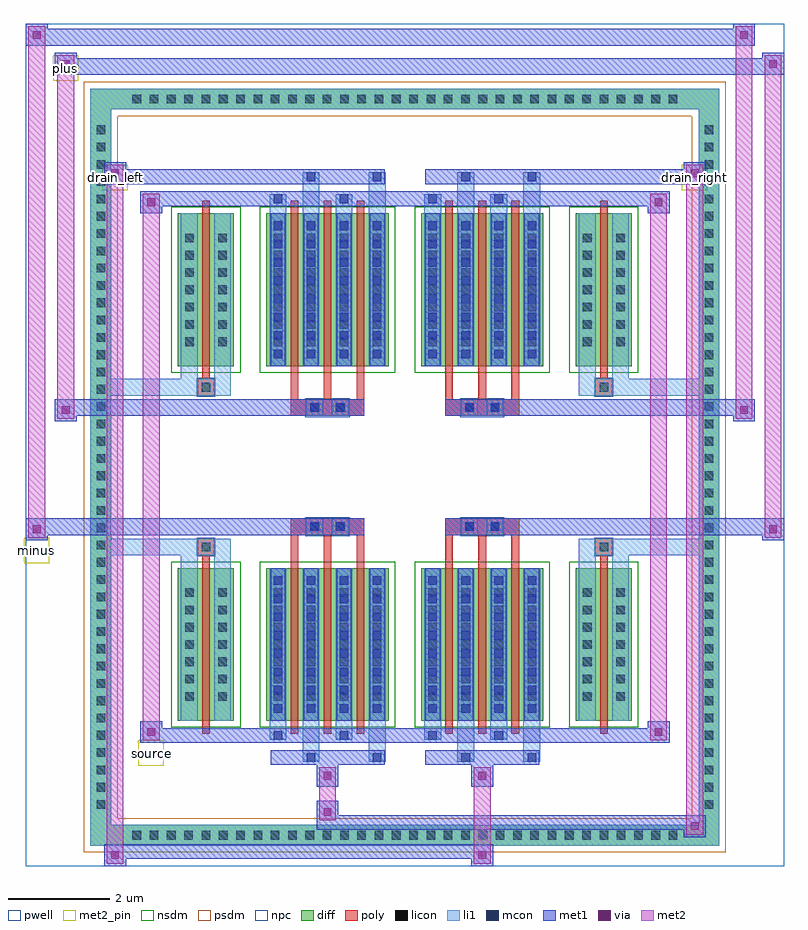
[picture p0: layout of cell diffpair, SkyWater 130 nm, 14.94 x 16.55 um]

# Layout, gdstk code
import gdstk
lib = gdstk.Library(unit=1e-6, precision=5e-09)
def R(c, l, rs):  # rectangles x0, y0, x1, y1
    for r in rs: c.add(gdstk.rectangle(r[:2], r[2:], *l))
def A(c, l, x, y, w, h, nx, ny, dx, dy):  # array of equal rectangles
    R(c, l, [(x+i*dx, y+j*dy, x+i*dx+w, y+j*dy+h) for i in range(nx) for j in range(ny)])
def P(c, l, *ps):  # polygons
    for p in ps: c.add(gdstk.Polygon(p, *l))
pwell = (64, 44)
diff = (65, 20)
poly = (66, 20)
licon = (66, 44)
li1 = (67, 20)
mcon = (67, 44)
met1 = (68, 20)
via = (68, 44)
met2_pin = (69, 16)
met2 = (69, 20)
nsdm = (93, 44)
psdm = (94, 20)
npc = (95, 20)

diffpair = lib.new_cell('diffpair')
R(diffpair, pwell, [(-7.45,-7.84,7.45,8.71), (-4.77,-6.03,-0.01,-0.805), (0.01,-6.03,4.77,-0.805), (-4.77,0.805,-0.01,6.03), (0.01,0.805,4.77,6.03)])
A(diffpair, diff, -5.475, -7.44, 0.41, 0.41, 32, 2, 0.34, 14.47)
A(diffpair, diff, -6.18, -6.835, 0.41, 0.41, 1, 40, 0, 0.34)
A(diffpair, diff, 5.77, -6.835, 0.41, 0.41, 1, 40, 0, 0.34)
R(diffpair, diff, [(-5.475,-7.44,5.475,-7.03), (-6.18,-6.835,-5.77,6.835), (5.77,-6.835,6.18,6.835), (-4.46,-4.985,-3.36,-1.985), (-2.72,-4.985,-0.32,-1.985), (0.32,-4.985,2.72,-1.985), (3.36,-4.985,4.46,-1.985), (-4.46,1.985,-3.36,4.985), (-2.72,1.985,-0.32,4.985), (0.32,1.985,2.72,4.985), (3.36,1.985,4.46,4.985), (-5.475,7.03,5.475,7.44)])
P(diffpair, diff, [(6.18,7.44),(-6.18,7.44),(-6.18,-7.03),(-5.77,-7.03),(-5.77,7.03),(5.77,7.03),(5.77,-7.03),(-5.77,-7.03),(-6.18,-7.03),(-6.18,-7.44),(6.18,-7.44)])
A(diffpair, poly, -2.245, -5.235, 0.15, 3.5, 3, 2, 0.65, 6.97)
A(diffpair, poly, 0.795, -5.235, 0.15, 3.5, 3, 2, 0.65, 6.97)
A(diffpair, poly, -2.245, -1.735, 0.15, 0.4, 3, 2, 0.65, 3.07)
A(diffpair, poly, 0.795, -1.735, 0.15, 0.4, 3, 2, 0.65, 3.07)
R(diffpair, poly, [(-3.985,-5.235,-3.835,-1.735), (3.835,-5.235,3.985,-1.735), (-4.075,-1.735,-3.745,-1.405), (-4.075,-1.735,-3.745,-1.405), (3.745,-1.735,4.075,-1.405), (3.745,-1.735,4.075,-1.405), (-2.245,-1.335,-0.795,-1.005), (-1.935,-1.335,-1.605,-1.005), (-1.435,-1.335,-1.105,-1.005), (0.795,-1.335,2.245,-1.005), (1.105,-1.335,1.435,-1.005), (1.605,-1.335,1.935,-1.005), (-2.245,1.005,-0.795,1.335), (-1.935,1.005,-1.605,1.335), (-1.435,1.005,-1.105,1.335), (0.795,1.005,2.245,1.335), (1.105,1.005,1.435,1.335), (1.605,1.005,1.935,1.335), (-4.075,1.405,-3.745,1.735), (-4.075,1.405,-3.745,1.735), (3.745,1.405,4.075,1.735), (3.745,1.405,4.075,1.735), (-3.985,1.735,-3.835,5.235), (3.835,1.735,3.985,5.235)])
A(diffpair, licon, -5.355, -7.32, 0.17, 0.17, 32, 2, 0.34, 14.47)
A(diffpair, licon, -6.06, -6.715, 0.17, 0.17, 1, 40, 0, 0.34)
A(diffpair, licon, 5.89, -6.715, 0.17, 0.17, 1, 40, 0, 0.34)
A(diffpair, licon, -4.32, -4.59, 0.17, 0.17, 1, 7, 0, 0.34)
A(diffpair, licon, -3.67, -4.59, 0.17, 0.17, 1, 7, 0, 0.34)
A(diffpair, licon, -2.58, -4.59, 0.17, 0.17, 4, 7, 0.65, 0.34)
A(diffpair, licon, 0.46, -4.59, 0.17, 0.17, 4, 7, 0.65, 0.34)
A(diffpair, licon, 3.5, -4.59, 0.17, 0.17, 1, 7, 0, 0.34)
A(diffpair, licon, 4.15, -4.59, 0.17, 0.17, 1, 7, 0, 0.34)
A(diffpair, licon, -4.32, 2.38, 0.17, 0.17, 1, 7, 0, 0.34)
A(diffpair, licon, -3.67, 2.38, 0.17, 0.17, 1, 7, 0, 0.34)
A(diffpair, licon, -2.58, 2.38, 0.17, 0.17, 4, 7, 0.65, 0.34)
A(diffpair, licon, 0.46, 2.38, 0.17, 0.17, 4, 7, 0.65, 0.34)
A(diffpair, licon, 3.5, 2.38, 0.17, 0.17, 1, 7, 0, 0.34)
A(diffpair, licon, 4.15, 2.38, 0.17, 0.17, 1, 7, 0, 0.34)
R(diffpair, licon, [(-3.995,-1.655,-3.825,-1.485), (3.825,-1.655,3.995,-1.485), (-1.855,-1.255,-1.685,-1.085), (-1.355,-1.255,-1.185,-1.085), (1.185,-1.255,1.355,-1.085), (1.685,-1.255,1.855,-1.085), (-1.855,1.085,-1.685,1.255), (-1.355,1.085,-1.185,1.255), (1.185,1.085,1.355,1.255), (1.685,1.085,1.855,1.255), (-3.995,1.485,-3.825,1.655), (3.825,1.485,3.995,1.655)])
A(diffpair, li1, -5.435, -7.4, 0.33, 0.33, 32, 2, 0.34, 14.47)
A(diffpair, li1, -6.14, -6.795, 0.33, 0.33, 1, 40, 0, 0.34)
A(diffpair, li1, 5.81, -6.795, 0.33, 0.33, 1, 40, 0, 0.34)
A(diffpair, li1, -2.66, -4.985, 0.33, 3, 4, 2, 0.65, 6.97)
A(diffpair, li1, 0.38, -4.985, 0.33, 3, 4, 2, 0.65, 6.97)
A(diffpair, li1, -2.58, -4.83, 0.17, 0.17, 4, 8, 0.65, 0.36)
A(diffpair, li1, -2.58, -4.83, 0.17, 2.69, 4, 2, 0.65, 6.97)
A(diffpair, li1, 0.46, -4.83, 0.17, 0.17, 4, 8, 0.65, 0.36)
A(diffpair, li1, 0.46, -4.83, 0.17, 2.69, 4, 2, 0.65, 6.97)
A(diffpair, li1, -4.4, -4.67, 0.33, 0.33, 1, 7, 0, 0.34)
A(diffpair, li1, -3.75, -4.67, 0.33, 0.33, 1, 7, 0, 0.34)
A(diffpair, li1, -2.66, -4.67, 0.33, 0.33, 4, 7, 0.65, 0.34)
A(diffpair, li1, 0.38, -4.67, 0.33, 0.33, 4, 7, 0.65, 0.34)
A(diffpair, li1, 3.42, -4.67, 0.33, 0.33, 1, 7, 0, 0.34)
A(diffpair, li1, 4.07, -4.67, 0.33, 0.33, 1, 7, 0, 0.34)
A(diffpair, li1, -2.58, 2.14, 0.17, 0.17, 4, 8, 0.65, 0.36)
A(diffpair, li1, 0.46, 2.14, 0.17, 0.17, 4, 8, 0.65, 0.36)
A(diffpair, li1, -4.4, 2.3, 0.33, 0.33, 1, 7, 0, 0.34)
A(diffpair, li1, -3.75, 2.3, 0.33, 0.33, 1, 7, 0, 0.34)
A(diffpair, li1, -2.66, 2.3, 0.33, 0.33, 4, 7, 0.65, 0.34)
A(diffpair, li1, 0.38, 2.3, 0.33, 0.33, 4, 7, 0.65, 0.34)
A(diffpair, li1, 3.42, 2.3, 0.33, 0.33, 1, 7, 0, 0.34)
A(diffpair, li1, 4.07, 2.3, 0.33, 0.33, 1, 7, 0, 0.34)
R(diffpair, li1, [(-6.18,-7.44,-5.77,-7.03), (-6.18,-7.44,-5.77,-7.03), (-5.77,-7.44,5.77,-7.03), (5.77,-7.44,6.18,-7.03), (5.77,-7.44,6.18,-7.03), (-6.18,-7.03,-5.77,7.03), (5.77,-7.03,6.18,7.03), (-2.01,-5.79,-1.68,-4.985), (-1.93,-5.79,-1.76,-5.62), (-0.71,-5.79,-0.38,-4.985), (-0.63,-5.79,-0.46,-5.62), (1.03,-5.79,1.36,-4.985), (1.11,-5.79,1.28,-5.62), (2.33,-5.79,2.66,-4.985), (2.41,-5.79,2.58,-5.62), (-2.66,-5.36,-2.33,-4.985), (-2.58,-5.36,-2.41,-5.19), (-1.36,-5.36,-1.03,-4.985), (-1.28,-5.36,-1.11,-5.19), (0.38,-5.36,0.71,-4.985), (0.46,-5.36,0.63,-5.19), (1.68,-5.36,2.01,-4.985), (1.76,-5.36,1.93,-5.19), (-4.4,-4.985,-4.07,-1.985), (-3.75,-4.985,-3.42,-1.985), (3.42,-4.985,3.75,-1.985), (4.07,-4.985,4.4,-1.985), (-4.4,-1.985,-4.07,-1.405), (-3.75,-1.985,-3.42,-1.405), (3.42,-1.985,3.75,-1.405), (4.07,-1.985,4.4,-1.405), (-6.18,-1.735,-4.075,-1.405), (-4.4,-1.735,-4.075,-1.405), (-4.075,-1.735,-3.745,-1.405), (-3.745,-1.735,-3.42,-1.405), (3.42,-1.735,3.745,-1.405), (3.745,-1.735,4.075,-1.405), (3.745,-1.735,6.18,-1.405), (4.075,-1.735,4.4,-1.405), (-1.935,-1.335,-1.605,-1.005), (-1.435,-1.335,-1.105,-1.005), (1.105,-1.335,1.435,-1.005), (1.605,-1.335,1.935,-1.005), (-1.935,1.005,-1.605,1.335), (-1.435,1.005,-1.105,1.335), (1.105,1.005,1.435,1.335), (1.605,1.005,1.935,1.335), (-6.18,1.405,-4.075,1.735), (-4.4,1.405,-4.075,1.735), (-4.4,1.405,-4.07,1.985), (-4.075,1.405,-3.745,1.735), (-3.75,1.405,-3.42,1.985), (-3.745,1.405,-3.42,1.735), (3.42,1.405,3.745,1.735), (3.42,1.405,3.75,1.985), (3.745,1.405,4.075,1.735), (3.745,1.405,6.18,1.735), (4.07,1.405,4.4,1.985), (4.075,1.405,4.4,1.735), (-4.4,1.985,-4.07,4.985), (-3.75,1.985,-3.42,4.985), (3.42,1.985,3.75,4.985), (4.07,1.985,4.4,4.985), (-2.66,4.985,-2.33,5.36), (-2.01,4.985,-1.68,5.79), (-1.36,4.985,-1.03,5.36), (-0.71,4.985,-0.38,5.79), (0.38,4.985,0.71,5.36), (1.03,4.985,1.36,5.79), (1.68,4.985,2.01,5.36), (2.33,4.985,2.66,5.79), (-2.58,5.19,-2.41,5.36), (-1.28,5.19,-1.11,5.36), (0.46,5.19,0.63,5.36), (1.76,5.19,1.93,5.36), (-1.93,5.62,-1.76,5.79), (-0.63,5.62,-0.46,5.79), (1.11,5.62,1.28,5.79), (2.41,5.62,2.58,5.79), (-6.18,7.03,-5.77,7.44), (-6.18,7.03,-5.77,7.44), (-5.77,7.03,5.77,7.44), (5.77,7.03,6.18,7.44), (5.77,7.03,6.18,7.44)])
A(diffpair, mcon, -2.58, -4.83, 0.17, 0.17, 4, 8, 0.65, 0.36)
A(diffpair, mcon, 0.46, -4.83, 0.17, 0.17, 4, 8, 0.65, 0.36)
A(diffpair, mcon, -2.58, 2.14, 0.17, 0.17, 4, 8, 0.65, 0.36)
A(diffpair, mcon, 0.46, 2.14, 0.17, 0.17, 4, 8, 0.65, 0.36)
R(diffpair, mcon, [(-1.93,-5.79,-1.76,-5.62), (-0.63,-5.79,-0.46,-5.62), (1.11,-5.79,1.28,-5.62), (2.41,-5.79,2.58,-5.62), (-2.58,-5.36,-2.41,-5.19), (-1.28,-5.36,-1.11,-5.19), (0.46,-5.36,0.63,-5.19), (1.76,-5.36,1.93,-5.19), (-1.855,-1.255,-1.685,-1.085), (-1.355,-1.255,-1.185,-1.085), (1.185,-1.255,1.355,-1.085), (1.685,-1.255,1.855,-1.085), (-1.855,1.085,-1.685,1.255), (-1.355,1.085,-1.185,1.255), (1.185,1.085,1.355,1.255), (1.685,1.085,1.855,1.255), (-2.58,5.19,-2.41,5.36), (-1.28,5.19,-1.11,5.36), (0.46,5.19,0.63,5.36), (1.76,5.19,1.93,5.36), (-1.93,5.62,-1.76,5.79), (-0.63,5.62,-0.46,5.79), (1.11,5.62,1.28,5.79), (2.41,5.62,2.58,5.79)])
A(diffpair, met1, -2.64, -4.985, 0.29, 3, 4, 2, 0.65, 6.97)
A(diffpair, met1, 0.4, -4.985, 0.29, 3, 4, 2, 0.65, 6.97)
A(diffpair, met1, -2.64, -4.89, 0.29, 0.29, 4, 8, 0.65, 0.36)
A(diffpair, met1, 0.4, -4.89, 0.29, 0.29, 4, 8, 0.65, 0.36)
A(diffpair, met1, -2.64, 2.08, 0.29, 0.29, 4, 8, 0.65, 0.36)
A(diffpair, met1, 0.4, 2.08, 0.29, 0.29, 4, 8, 0.65, 0.36)
R(diffpair, met1, [(-5.91,-7.84,-5.48,-7.41), (1.305,-7.84,1.735,-7.41), (-5.91,-7.7,1.735,-7.41), (5.48,-7.27,5.91,-6.84), (-1.735,-7.13,5.91,-6.84), (-1.735,-6.99,-1.305,-6.56), (-1.735,-6.28,-1.305,-5.85), (1.305,-6.28,1.735,-5.85), (-2.64,-5.85,-0.4,-5.56), (-1.99,-5.85,-1.7,-5.56), (-0.69,-5.85,-0.4,-5.56), (0.4,-5.85,2.64,-5.56), (1.05,-5.85,1.34,-5.56), (2.35,-5.85,2.64,-5.56), (-5.2,-5.42,-4.77,-4.99), (-5.2,-5.42,-2.64,-5.13), (-2.64,-5.42,-2.35,-5.13), (-2.64,-5.42,-0.4,-5.13), (-1.34,-5.42,-1.05,-5.13), (-0.4,-5.42,0.4,-5.13), (0.4,-5.42,0.69,-5.13), (0.4,-5.42,2.64,-5.13), (1.7,-5.42,1.99,-5.13), (2.64,-5.42,5.2,-5.13), (4.77,-5.42,5.2,-4.99), (-7.45,-1.435,-7.02,-1.005), (7.02,-1.435,7.45,-1.005), (-7.45,-1.335,-0.795,-1.005), (-2.245,-1.335,-0.795,-1.005), (0.795,-1.335,2.245,-1.005), (0.795,-1.335,7.45,-1.005), (-1.915,-1.315,-1.625,-1.025), (-1.415,-1.315,-1.125,-1.025), (1.125,-1.315,1.415,-1.025), (1.625,-1.315,1.915,-1.025), (-6.88,0.905,-6.45,1.335), (6.45,0.905,6.88,1.335), (-6.88,1.005,-2.245,1.335), (-2.245,1.005,-0.795,1.335), (0.795,1.005,2.245,1.335), (2.245,1.005,6.88,1.335), (-1.915,1.025,-1.625,1.315), (-1.415,1.025,-1.125,1.315), (1.125,1.025,1.415,1.315), (1.625,1.025,1.915,1.315), (-5.2,4.99,-4.77,5.42), (4.77,4.99,5.2,5.42), (-5.2,5.13,-2.64,5.42), (-2.64,5.13,-2.35,5.42), (-2.64,5.13,-0.4,5.42), (-1.34,5.13,-1.05,5.42), (-0.4,5.13,0.4,5.42), (0.4,5.13,0.69,5.42), (0.4,5.13,2.64,5.42), (1.7,5.13,1.99,5.42), (2.64,5.13,5.2,5.42), (-5.91,5.56,-5.48,5.99), (-5.91,5.56,-2.64,5.85), (-2.64,5.56,-0.4,5.85), (-1.99,5.56,-1.7,5.85), (-0.69,5.56,-0.4,5.85), (0.4,5.56,2.64,5.85), (1.05,5.56,1.34,5.85), (2.35,5.56,2.64,5.85), (2.64,5.56,5.91,5.85), (5.48,5.56,5.91,5.99), (-6.88,7.71,-6.45,8.14), (-6.88,7.71,-4.77,8.04), (-4.77,7.71,4.77,8.04), (4.77,7.71,7.45,8.04), (7.02,7.71,7.45,8.14), (-7.45,8.28,-7.02,8.71), (-7.45,8.28,-4.77,8.61), (-4.77,8.28,4.77,8.61), (4.77,8.28,6.88,8.61), (6.45,8.28,6.88,8.71)])
R(diffpair, via, [(-5.77,-7.7,-5.62,-7.55), (1.445,-7.7,1.595,-7.55), (5.62,-7.13,5.77,-6.98), (-1.595,-6.85,-1.445,-6.7), (-1.595,-6.14,-1.445,-5.99), (1.445,-6.14,1.595,-5.99), (-5.06,-5.28,-4.91,-5.13), (4.91,-5.28,5.06,-5.13), (-7.31,-1.295,-7.16,-1.145), (7.16,-1.295,7.31,-1.145), (-6.74,1.045,-6.59,1.195), (6.59,1.045,6.74,1.195), (-5.06,5.13,-4.91,5.28), (4.91,5.13,5.06,5.28), (-5.77,5.7,-5.62,5.85), (5.62,5.7,5.77,5.85), (-6.74,7.85,-6.59,8), (7.16,7.85,7.31,8), (-7.31,8.42,-7.16,8.57), (6.59,8.42,6.74,8.57)])
R(diffpair, met2_pin, [(-5.235,-5.87,-4.735,-5.37), (-7.485,-1.885,-6.985,-1.385), (-5.945,5.44,-5.445,5.94), (5.445,5.44,5.945,5.94), (-6.915,7.59,-6.415,8.09)])
R(diffpair, met2, [(-5.86,-7.79,-5.53,-7.46), (-5.86,-7.79,-5.53,5.94), (1.355,-7.79,1.685,-7.46), (1.355,-7.46,1.685,-6.23), (5.53,-7.22,5.86,-6.89), (5.53,-7.22,5.86,5.94), (-1.685,-6.94,-1.355,-6.61), (-1.685,-6.61,-1.355,-6.23), (-1.685,-6.23,-1.355,-5.9), (1.355,-6.23,1.685,-5.9), (-5.15,-5.37,-4.82,-5.04), (-5.15,-5.37,-4.82,5.37), (4.82,-5.37,5.15,-5.04), (4.82,-5.37,5.15,5.37), (-7.4,-1.385,-7.07,-1.055), (-7.4,-1.385,-7.07,8.66), (7.07,-1.385,7.4,-1.055), (7.07,-1.385,7.4,8.09), (-6.83,0.955,-6.5,1.285), (-6.83,0.955,-6.5,8.09), (6.5,0.955,6.83,1.285), (6.5,0.955,6.83,8.66), (-5.15,5.04,-4.82,5.37), (4.82,5.04,5.15,5.37), (-5.86,5.61,-5.53,5.94), (5.53,5.61,5.86,5.94), (-6.83,7.76,-6.5,8.09), (7.07,7.76,7.4,8.09), (-7.4,8.33,-7.07,8.66), (6.5,8.33,6.83,8.66)])
P(diffpair, met2, [(7.4,-1.385),(7.4,-1.385),(7.4,-1.055),(7.4,-1.055)],
  [(7.4,7.76),(7.4,7.76),(7.4,8.09),(7.4,8.09)],
  [(-7.07,-1.385),(-7.07,-1.385),(-7.07,-1.055),(-7.07,-1.055)],
  [(-7.07,8.33),(-7.07,8.33),(-7.07,8.66),(-7.07,8.66)],
  [(6.83,0.955),(6.83,0.955),(6.83,1.285),(6.83,1.285)],
  [(6.83,8.33),(6.83,8.33),(6.83,8.66),(6.83,8.66)],
  [(-6.5,0.955),(-6.5,0.955),(-6.5,1.285),(-6.5,1.285)],
  [(-6.5,7.76),(-6.5,7.76),(-6.5,8.09),(-6.5,8.09)],
  [(-5.53,-7.79),(-5.53,-7.79),(-5.53,-7.46),(-5.53,-7.46)],
  [(-5.53,5.61),(-5.53,5.61),(-5.53,5.94),(-5.53,5.94)],
  [(5.86,-7.22),(5.86,-7.22),(5.86,-6.89),(5.86,-6.89)],
  [(5.86,5.61),(5.86,5.61),(5.86,5.94),(5.86,5.94)],
  [(-4.82,-5.37),(-4.82,-5.37),(-4.82,-5.04),(-4.82,-5.04)],
  [(-4.82,5.04),(-4.82,5.04),(-4.82,5.37),(-4.82,5.37)],
  [(5.15,-5.37),(5.15,-5.37),(5.15,-5.04),(5.15,-5.04)],
  [(5.15,5.04),(5.15,5.04),(5.15,5.37),(5.15,5.37)])
R(diffpair, nsdm, [(-4.59,-5.115,-3.23,-1.855), (-2.85,-5.115,-0.19,-1.855), (0.19,-5.115,2.85,-1.855), (3.23,-5.115,4.59,-1.855), (-4.59,1.855,-3.23,5.115), (-2.85,1.855,-0.19,5.115), (0.19,1.855,2.85,5.115), (3.23,1.855,4.59,5.115)])
P(diffpair, psdm, [(6.31,7.57),(-6.31,7.57),(-6.31,-6.9),(-5.64,-6.9),(-5.64,6.9),(5.64,6.9),(5.64,-6.9),(-5.64,-6.9),(-6.31,-6.9),(-6.31,-7.57),(6.31,-7.57)])
R(diffpair, npc, [(-4.095,-1.755,-3.725,-1.385), (3.725,-1.755,4.095,-1.385), (-1.955,-1.355,-1.585,-0.985), (-1.955,-1.355,-1.085,-0.985), (-1.955,-1.355,-1.085,-0.985), (-1.455,-1.355,-1.085,-0.985), (1.085,-1.355,1.455,-0.985), (1.085,-1.355,1.955,-0.985), (1.085,-1.355,1.955,-0.985), (1.585,-1.355,1.955,-0.985), (-1.955,0.985,-1.585,1.355), (-1.955,0.985,-1.085,1.355), (-1.955,0.985,-1.085,1.355), (-1.455,0.985,-1.085,1.355), (1.085,0.985,1.455,1.355), (1.085,0.985,1.955,1.355), (1.085,0.985,1.955,1.355), (1.585,0.985,1.955,1.355), (-4.095,1.385,-3.725,1.755), (3.725,1.385,4.095,1.755)])
diffpair.add(gdstk.Label('minus', (-7.235,-1.635), layer=69, texttype=5))
diffpair.add(gdstk.Label('drain_right', (5.695,5.69), layer=69, texttype=5))
diffpair.add(gdstk.Label('drain_left', (-5.695,5.69), layer=69, texttype=5))
diffpair.add(gdstk.Label('source', (-4.985,-5.62), layer=69, texttype=5))
diffpair.add(gdstk.Label('plus', (-6.665,7.84), layer=69, texttype=5))

lib.write_gds('diffpair.gds')
